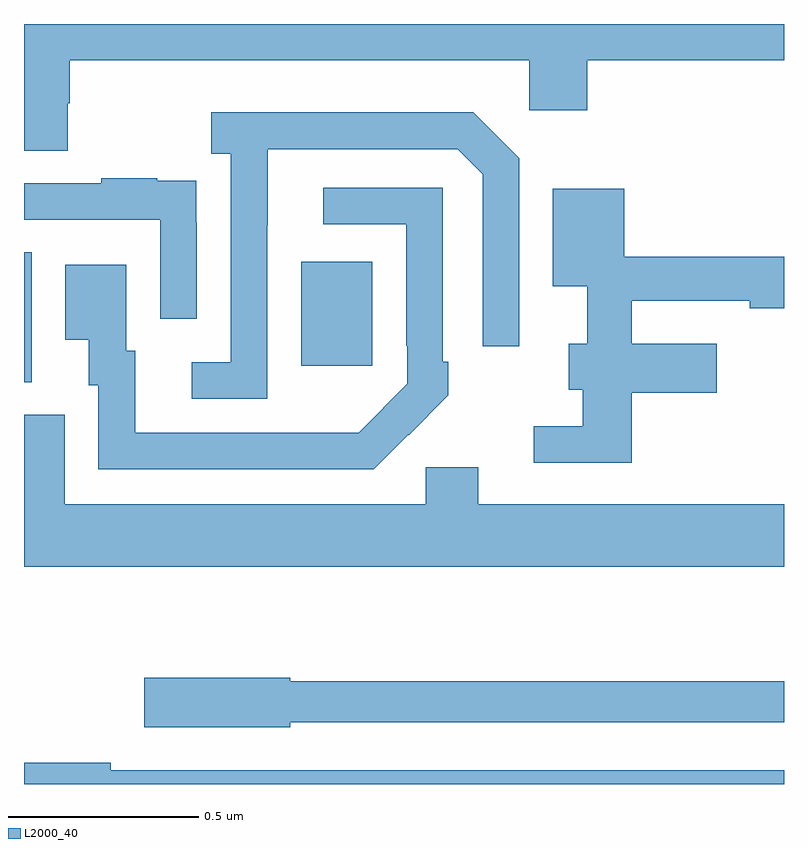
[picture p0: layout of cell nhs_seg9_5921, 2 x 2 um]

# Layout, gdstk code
import gdstk
lib = gdstk.Library(unit=1e-6, precision=1e-09)
def R(c, l, rs):  # rectangles x0, y0, x1, y1
    for r in rs: c.add(gdstk.rectangle(r[:2], r[2:], *l))
def P(c, l, *ps):  # polygons
    for p in ps: c.add(gdstk.Polygon(p, *l))
L2000_40 = (2000, 40)

nhs_seg9_5921 = lib.new_cell('nhs_seg9_5921')
R(nhs_seg9_5921, L2000_40, [(185,1211.557,185.02,1211.9), (185.729,1211.601,185.917,1211.875)])
P(nhs_seg9_5921, L2000_40, [(185.115,1212.291),(185.12,1212.291),(185.12,1212.404),(186.33,1212.404),(186.33,1212.273),(186.482,1212.273),(186.482,1212.404),(187,1212.404),(187,1212.5),(185,1212.5),(185,1212.166),(185.115,1212.166)],
  [(185.64,1211.971),(185.641,1211.971),(185.641,1212.171),(186.141,1212.171),(186.207,1212.105),(186.207,1211.652),(186.303,1211.652),(186.303,1212.147),(186.182,1212.268),(185.493,1212.268),(185.493,1212.158),(185.544,1212.158),(185.544,1211.61),(185.442,1211.61),(185.442,1211.514),(185.64,1211.514)],
  [(185.454,1211.978),(185.453,1211.978),(185.453,1212.087),(185.351,1212.087),(185.351,1212.094),(185.203,1212.094),(185.203,1212.081),(185,1212.081),(185,1211.985),(185.358,1211.985),(185.358,1211.724),(185.454,1211.724)],
  [(186.011,1211.419),(186.012,1211.418),(186.117,1211.523),(186.117,1211.611),(186.102,1211.611),(186.102,1212.069),(185.787,1212.069),(185.787,1211.973),(186.006,1211.973),(186.006,1211.653),(186.009,1211.653),(186.009,1211.553),(185.881,1211.425),(185.777,1211.425),(185.777,1211.424),(185.293,1211.424),(185.293,1211.64),(185.269,1211.64),(185.269,1211.866),(185.108,1211.866),(185.108,1211.669),(185.171,1211.669),(185.171,1211.55),(185.196,1211.55),(185.196,1211.328),(185.92,1211.328)],
  [(186.599,1211.53),(186.823,1211.53),(186.823,1211.659),(186.599,1211.659),(186.599,1211.772),(186.91,1211.772),(186.91,1211.752),(187,1211.752),(187,1211.888),(186.579,1211.888),(186.579,1212.067),(186.392,1212.067),(186.392,1211.81),(186.482,1211.81),(186.482,1211.659),(186.434,1211.659),(186.434,1211.537),(186.471,1211.537),(186.471,1211.442),(186.342,1211.442),(186.342,1211.346),(186.599,1211.346)],
  [(187,1211.236),(186.196,1211.236),(186.196,1211.334),(186.057,1211.334),(186.057,1211.236),(185.107,1211.236),(185.107,1211.472),(185,1211.472),(185,1211.072),(187,1211.072)],
  [(185.7,1210.662),(187,1210.662),(187,1210.771),(185.7,1210.771),(185.7,1210.779),(185.316,1210.779),(185.316,1210.649),(185.7,1210.649)],
  [(187,1210.536),(185.228,1210.536),(185.228,1210.556),(185,1210.556),(185,1210.5),(187,1210.5)])

lib.write_gds('nhs_seg9_5921.gds')
